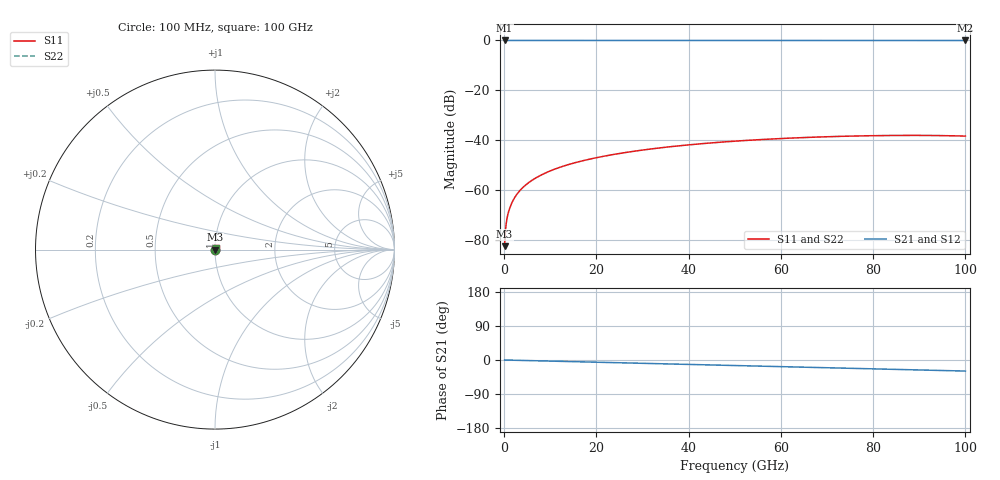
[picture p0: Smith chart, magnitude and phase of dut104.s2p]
! Touchstone file exported from HFSS 2026.1.0
!  File:  C:/ffzhzh/LocalFiles/Ansys_Project_Files/temp_train_TSV_104_1783505822_9504.aedt
!  Generated:  06:18:15 PM Jul  8, 2026
!  Design:  TSV
!  Project:  temp_train_TSV_104_1783505822_9504
! Variables:
!  h_bsmrdl = 2um
!  h_ox = 20um
!  h_rdl = 5um
!  h_sub = 51.94um
!  h_tmrdl = 5um
!  h_tsv = 51.94um
!  h_via = 3um
!  l_bsmrdl = 300um
!  l_sub = 428.24um
!  l_tmrdl = 200um
!  m_sub = 200um
!  pitch = 58.02um
!  r_tsv = 14.12um
!  s_tmrdl = 10um
!  w_bsmrdl = 18um
!  w_sub = 500um
!  w_tmrdl = 12um
!  x_tsv_center1 = 206um
!  x_tsv_center2 = 524um
!  x_tsv_center3 = 736um
!  x_tsv_center4 = 1054um
!  x_tsv_center5 = 1266um
!  x_tsv_center6 = 1584um
# GHz S MA R 50.000000
! Terminal data exported
! Port[1] = TSV1_1_T1
! Port[2] = TSV1_1_T2
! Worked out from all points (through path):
!   1000 points, 100 MHz to 100 GHz, reference 50 ohm
!   highest |S21| = 0.00 dB at 100 MHz (marker M1); lowest = 0.0 dB at 100 GHz (marker M2)
!   group delay of S21, straight-line fit = 810 fs
!   lowest |S11| = -82.4 dB at 100 MHz (marker M3), VSWR 1.00, Z = 50 + j0.00495 ohm
!   |S11| at or under -10 dB: start of sweep to end of sweep
!   |S22| runs from -82.4 to -38.0 dB; largest |S21 - S12| = 2.7e-15
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0.1  7.585e-05 40.8  0.9999 -0.0  0.9999 -0.0  7.585e-05 40.8
! Gamma 0 0 0 0
! Port Impedance 50 0 50 0
0.4  0.0001984 61.5  0.9999 -0.1  0.9999 -0.1  0.0001984 61.5
0.8  0.0003262 64.0  0.9999 -0.2  0.9999 -0.2  0.0003262 64.0
0.9  0.0003542 64.6  0.9998 -0.3  0.9998 -0.3  0.0003542 64.6
1.2  0.0004349 66.2  0.9998 -0.4  0.9998 -0.4  0.0004349 66.2
1.5  0.0005134 67.6  0.9998 -0.4  0.9998 -0.4  0.0005134 67.6
2  0.0006415 69.4  0.9998 -0.6  0.9998 -0.6  0.0006415 69.4
2.6  0.0007909 70.7  0.9997 -0.8  0.9997 -0.8  0.0007909 70.7
3.3  0.0009592 71.8  0.9997 -1.0  0.9997 -1.0  0.0009592 71.8
4.1  0.001145 72.7  0.9997 -1.2  0.9997 -1.2  0.001145 72.7
5.1  0.001372 73.5  0.9996 -1.5  0.9996 -1.5  0.001372 73.5
6.3  0.001639 74.3  0.9996 -1.8  0.9996 -1.8  0.001639 74.3
9.1  0.002248 75.1  0.9995 -2.7  0.9995 -2.7  0.002248 75.1
12.6  0.002991 75.4  0.9994 -3.7  0.9994 -3.7  0.002991 75.4
16.8  0.003849 75.2  0.9993 -4.9  0.9993 -4.9  0.003849 75.2
24.3  0.005319 74.5  0.9992 -7.1  0.9992 -7.1  0.005319 74.5
33.4  0.006992 72.8  0.999 -9.7  0.999 -9.7  0.006991 72.8
41.3  0.008319 71.1  0.9989 -12.0  0.9989 -12.0  0.008319 71.1
50.1  0.009629 68.9  0.9988 -14.6  0.9988 -14.6  0.009629 68.9
66.7  0.01152 64.4  0.9986 -19.4  0.9986 -19.4  0.01152 64.4
83.4  0.01249 59.7  0.9983 -24.3  0.9983 -24.3  0.01249 59.7
100  0.01214 54.8  0.9981 -29.2  0.9981 -29.2  0.01214 54.8
